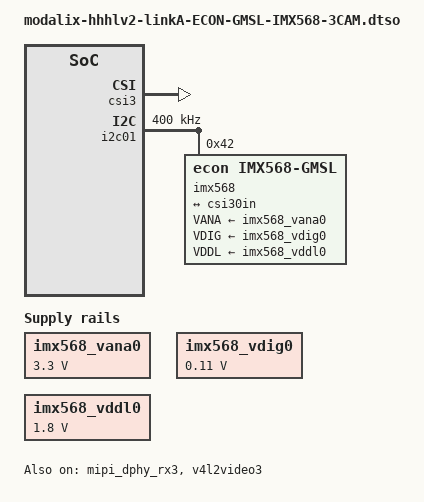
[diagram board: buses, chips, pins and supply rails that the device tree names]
// SPDX-License-Identifier: (GPL-2.0+ OR MIT)
/*
 * Copyright (c) 2026 SiMa ai
 */

/dts-v1/;
/plugin/;

&{/} {
    imx568_clk0: imx568_clk0 {
        status = "okay";
        compatible = "fixed-clock";
        #clock-cells = <0>;
        clock-frequency = <37125000>;
    };

    imx568_vana0: vana0 {
        compatible = "regulator-fixed";
        regulator-name = "imx568_vana0";
        regulator-min-microvolt = <3300000>;
        regulator-max-microvolt = <3300000>;
        enable-active-high;
        startup-delay-us = <300000>;
        regulator-always-on;
    };

    imx568_vdig0: vdig0 {
        compatible = "regulator-fixed";
        regulator-name = "imx568_vdig0";
        regulator-min-microvolt = <110000>;
        regulator-max-microvolt = <110000>;
        regulator-always-on;
    };

    imx568_vddl0: vddl0 {
        compatible = "regulator-fixed";
        regulator-name = "vddl0";
        regulator-min-microvolt = <1800000>;
        regulator-max-microvolt = <1800000>;
        regulator-always-on;
    };
};

&csi3 {
    status = "okay";
};

&axi_vdma3 {
    status = "okay";
};

&mipi_dphy_rx3 {
    status = "okay";
};

&v4l2video3 {
    status = "okay";
};

&v4l2vdma3 {
    status = "okay";
};

&csi30in{
    clock-lanes = <0>;
    data-lanes = <1 2>;
    link-frequencies = /bits/ 64 <594000000>;
    remote-endpoint = <&cam30out>;
    clock-continuous;
};

&i2c01 {
    status = "okay";
    clock-frequency = <400000>;
    #address-cells = <1>;
    #size-cells = <0>;

    imx568: imx568@42 {
        compatible = "econ,imx568-gmsl";
        reg = <0x42>;
        clocks = <&imx568_clk0>;
        clock-names = "xclk";
        VANA-supply = <&imx568_vana0>;
        VDIG-supply = <&imx568_vdig0>;
        VDDL-supply = <&imx568_vddl0>;
        camera_mipi_lanes = <2>;
        cam_fw_name = "imx568_cam_fw_gmsl.bin";
        port@1 {
            reg = <1>;
            cam30out: endpoint@0 {
                reg = <0>;
                clock-lanes = <0>;
                data-lanes = <1 2>;
                link-frequencies = /bits/ 64 <594000000>;
                remote-endpoint = <&csi30in>;
                clock-continuous;
            };
        };
    };
};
